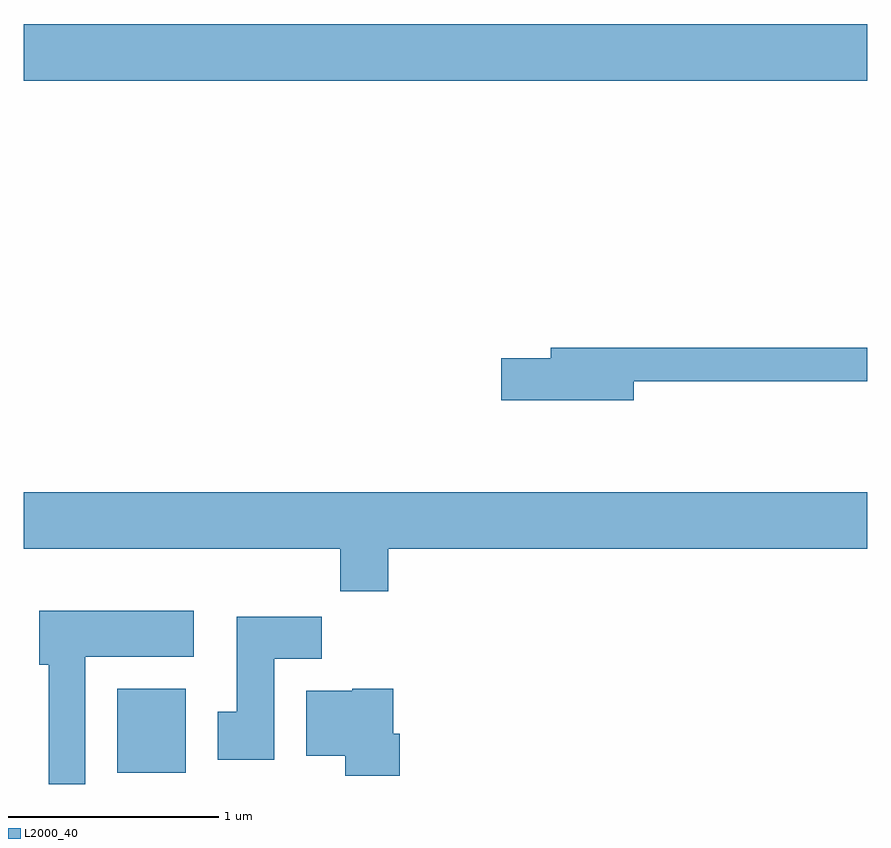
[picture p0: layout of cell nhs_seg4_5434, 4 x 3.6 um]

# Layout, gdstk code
import gdstk
lib = gdstk.Library(unit=1e-6, precision=1e-09)
def R(c, l, rs):  # rectangles x0, y0, x1, y1
    for r in rs: c.add(gdstk.rectangle(r[:2], r[2:], *l))
def P(c, l, *ps):  # polygons
    for p in ps: c.add(gdstk.Polygon(p, *l))
L2000_40 = (2000, 40)

nhs_seg4_5434 = lib.new_cell('nhs_seg4_5434')
R(nhs_seg4_5434, L2000_40, [(344.056,1378.036,344.379,1378.434), (343.611,1381.316,347.611,1381.584)])
P(nhs_seg4_5434, L2000_40, [(346.504,1379.891),(347.611,1379.891),(347.611,1380.049),(346.111,1380.049),(346.111,1379.999),(345.876,1379.999),(345.876,1379.801),(346.504,1379.801)],
  [(345.339,1379.096),(347.611,1379.096),(347.611,1379.364),(343.611,1379.364),(343.611,1379.096),(345.111,1379.096),(345.111,1378.896),(345.339,1378.896)],
  [(343.904,1378.586),(344.419,1378.586),(344.419,1378.804),(343.686,1378.804),(343.686,1378.546),(343.731,1378.546),(343.731,1377.982),(343.904,1377.982)],
  [(344.799,1378.576),(345.024,1378.576),(345.024,1378.774),(344.621,1378.774),(344.621,1378.324),(344.531,1378.324),(344.531,1378.096),(344.799,1378.096)],
  [(345.394,1378.219),(345.364,1378.219),(345.364,1378.434),(345.17,1378.434),(345.17,1378.424),(344.951,1378.424),(344.951,1378.116),(345.136,1378.116),(345.136,1378.021),(345.394,1378.021)])

lib.write_gds('nhs_seg4_5434.gds')
